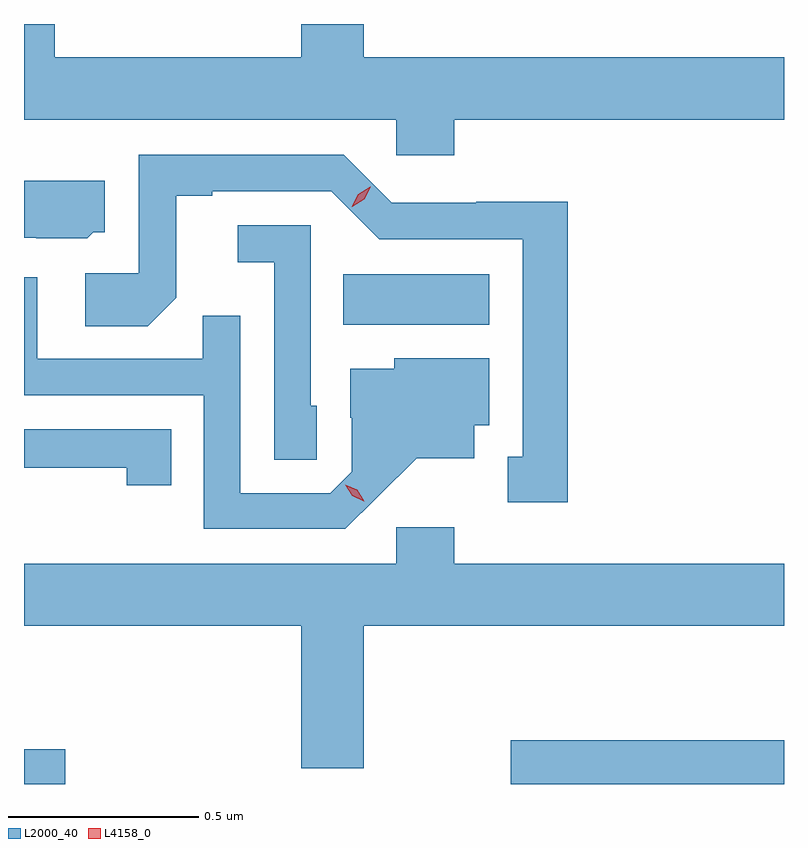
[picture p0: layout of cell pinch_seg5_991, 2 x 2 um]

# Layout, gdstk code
import gdstk
lib = gdstk.Library(unit=1e-6, precision=1e-09)
def R(c, l, rs):  # rectangles x0, y0, x1, y1
    for r in rs: c.add(gdstk.rectangle(r[:2], r[2:], *l))
def P(c, l, *ps):  # polygons
    for p in ps: c.add(gdstk.Polygon(p, *l))
L2000_40 = (2000, 40)
L4158_0 = (4158, 0)

pinch_seg5_991 = lib.new_cell('pinch_seg5_991')
R(pinch_seg5_991, L2000_40, [(751.69,910.956,751.799,911.047), (752.971,910.956,753.69,911.071), (752.53,912.164,752.914,912.298)])
P(pinch_seg5_991, L2000_40, [(752.822,912.704),(753.69,912.704),(753.69,912.868),(752.584,912.868),(752.584,912.956),(752.42,912.956),(752.42,912.868),(751.771,912.868),(751.771,912.956),(751.69,912.956),(751.69,912.704),(752.67,912.704),(752.67,912.611),(752.822,912.611)],
  [(753.121,912.488),(752.88,912.488),(752.88,912.486),(752.658,912.486),(752.532,912.612),(751.992,912.612),(751.992,912.3),(751.851,912.3),(751.851,912.16),(752.015,912.16),(752.091,912.236),(752.091,912.504),(752.185,912.504),(752.185,912.516),(752.499,912.516),(752.625,912.39),(753.002,912.39),(753.002,911.817),(752.963,911.817),(752.963,911.697),(753.121,911.697)],
  [(751.872,912.408),(751.903,912.408),(751.903,912.544),(751.69,912.544),(751.69,912.393),(751.722,912.393),(751.722,912.392),(751.856,912.392)],
  [(752.46,911.952),(752.445,911.952),(752.445,912.426),(752.253,912.426),(752.253,912.329),(752.349,912.329),(752.349,911.809),(752.46,911.809)],
  [(752.62,911.711),(752.723,911.813),(752.875,911.813),(752.875,911.9),(752.914,911.9),(752.914,912.076),(752.664,912.076),(752.664,912.049),(752.549,912.049),(752.549,911.92),(752.553,911.92),(752.553,911.778),(752.496,911.721),(752.259,911.721),(752.259,912.188),(752.161,912.188),(752.161,912.075),(751.725,912.075),(751.725,912.289),(751.69,912.289),(751.69,911.979),(752.163,911.979),(752.163,911.628),(752.536,911.628)],
  [(752.078,911.889),(751.69,911.889),(751.69,911.788),(751.96,911.788),(751.96,911.742),(752.078,911.742)],
  [(752.584,911.372),(753.69,911.372),(753.69,911.536),(752.822,911.536),(752.822,911.632),(752.67,911.632),(752.67,911.536),(751.69,911.536),(751.69,911.372),(752.42,911.372),(752.42,910.998),(752.584,910.998)])
P(pinch_seg5_991, L4158_0, [(752.553,912.475),(752.553,912.475),(752.57,912.508),(752.601,912.528),(752.602,912.528),(752.602,912.528),(752.585,912.495),(752.554,912.475)],
  [(752.584,911.7),(752.554,911.715),(752.536,911.744),(752.536,911.744),(752.536,911.744),(752.567,911.73),(752.585,911.7),(752.585,911.7)])

lib.write_gds('pinch_seg5_991.gds')
